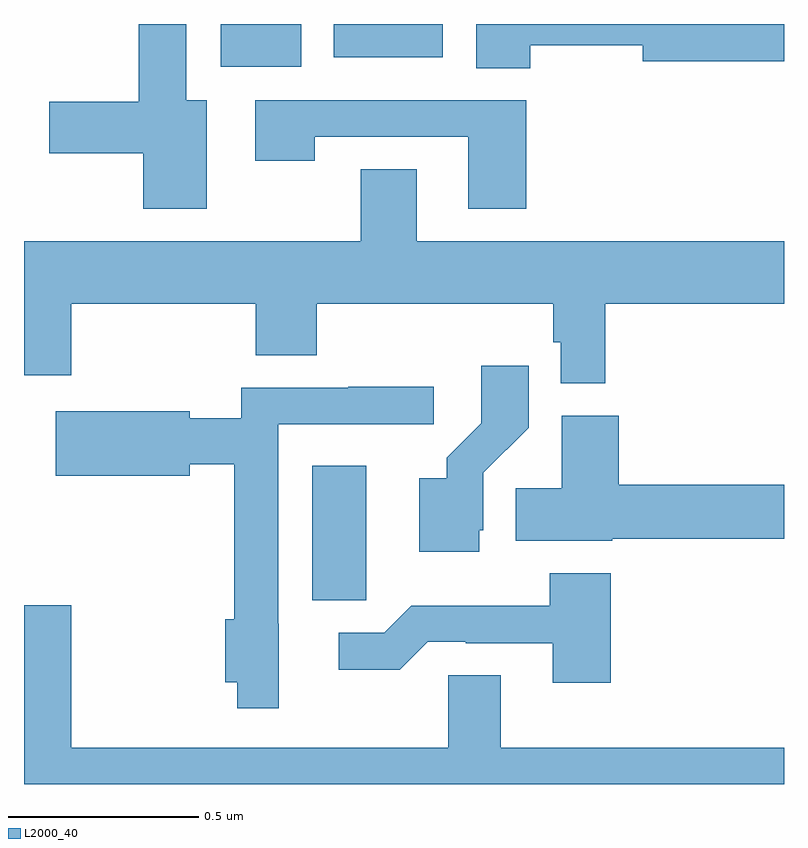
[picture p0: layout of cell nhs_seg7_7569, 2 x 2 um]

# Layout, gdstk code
import gdstk
lib = gdstk.Library(unit=1e-6, precision=1e-09)
def R(c, l, rs):  # rectangles x0, y0, x1, y1
    for r in rs: c.add(gdstk.rectangle(r[:2], r[2:], *l))
def P(c, l, *ps):  # polygons
    for p in ps: c.add(gdstk.Polygon(p, *l))
L2000_40 = (2000, 40)

nhs_seg7_7569 = lib.new_cell('nhs_seg7_7569')
R(nhs_seg7_7569, L2000_40, [(213.518,1019.888,213.73,1020), (213.815,1019.912,214.102,1020)])
P(nhs_seg7_7569, L2000_40, [(214.332,1019.944),(214.628,1019.944),(214.628,1019.902),(215,1019.902),(215,1020),(214.19,1020),(214.19,1019.884),(214.332,1019.884)],
  [(213.481,1019.8),(213.427,1019.8),(213.427,1020),(213.302,1020),(213.302,1019.795),(213.066,1019.795),(213.066,1019.66),(213.314,1019.66),(213.314,1019.514),(213.481,1019.514)],
  [(214.322,1019.799),(213.609,1019.799),(213.609,1019.64),(213.765,1019.64),(213.765,1019.703),(214.169,1019.703),(214.169,1019.514),(214.322,1019.514)],
  [(214.529,1019.264),(215,1019.264),(215,1019.428),(214.033,1019.428),(214.033,1019.618),(213.886,1019.618),(213.886,1019.428),(213,1019.428),(213,1019.076),(213.124,1019.076),(213.124,1019.264),(213.61,1019.264),(213.61,1019.128),(213.77,1019.128),(213.77,1019.264),(214.393,1019.264),(214.393,1019.163),(214.413,1019.163),(214.413,1019.054),(214.529,1019.054)],
  [(214.198,1018.668),(214.209,1018.668),(214.209,1018.819),(214.328,1018.938),(214.328,1019.101),(214.203,1019.101),(214.203,1018.949),(214.112,1018.859),(214.112,1018.804),(214.04,1018.804),(214.04,1018.611),(214.198,1018.611)],
  [(213.67,1018.422),(213.669,1018.422),(213.669,1018.947),(214.078,1018.947),(214.078,1019.046),(213.853,1019.046),(213.853,1019.043),(213.572,1019.043),(213.572,1018.963),(213.436,1018.963),(213.436,1018.981),(213.084,1018.981),(213.084,1018.811),(213.436,1018.811),(213.436,1018.842),(213.553,1018.842),(213.553,1018.434),(213.529,1018.434),(213.529,1018.268),(213.561,1018.268),(213.561,1018.2),(213.67,1018.2)],
  [(214.548,1018.646),(215,1018.646),(215,1018.788),(214.565,1018.788),(214.565,1018.969),(214.415,1018.969),(214.415,1018.778),(214.294,1018.778),(214.294,1018.64),(214.548,1018.64)],
  [(213.9,1018.594),(213.901,1018.594),(213.901,1018.837),(213.758,1018.837),(213.758,1018.483),(213.9,1018.483)],
  [(214.544,1018.555),(214.384,1018.555),(214.384,1018.469),(214.019,1018.469),(213.948,1018.398),(213.828,1018.398),(213.828,1018.301),(213.989,1018.301),(214.062,1018.374),(214.162,1018.374),(214.162,1018.371),(214.391,1018.371),(214.391,1018.266),(214.544,1018.266)],
  [(215,1018.096),(214.255,1018.096),(214.255,1018.286),(214.116,1018.286),(214.116,1018.096),(213.124,1018.096),(213.124,1018.471),(213,1018.471),(213,1018),(215,1018)])

lib.write_gds('nhs_seg7_7569.gds')
